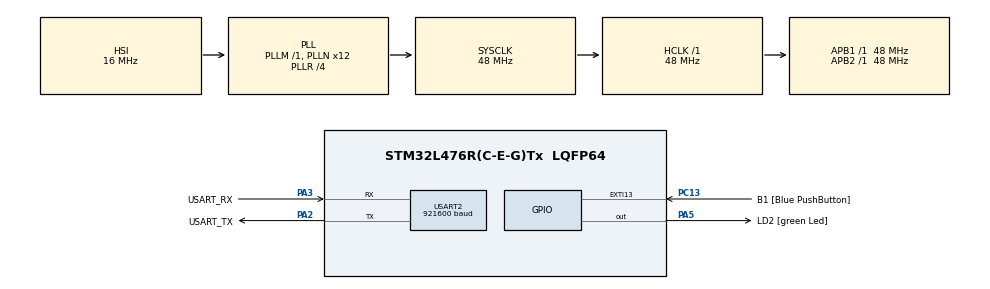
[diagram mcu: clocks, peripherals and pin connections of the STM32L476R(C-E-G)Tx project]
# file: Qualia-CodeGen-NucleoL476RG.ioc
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Dma.Request0=USART2_RX
Dma.USART2_RX.0.Direction=DMA_PERIPH_TO_MEMORY
Dma.USART2_RX.0.Instance=DMA1_Channel6
Dma.USART2_RX.0.MemDataAlignment=DMA_MDATAALIGN_BYTE
Dma.USART2_RX.0.MemInc=DMA_MINC_ENABLE
Dma.USART2_RX.0.Mode=DMA_NORMAL
Dma.USART2_RX.0.PeriphDataAlignment=DMA_PDATAALIGN_BYTE
Dma.USART2_RX.0.PeriphInc=DMA_PINC_DISABLE
Dma.USART2_RX.0.Priority=DMA_PRIORITY_MEDIUM
Mcu.Family=STM32L4
Mcu.Name=STM32L476R(C-E-G)Tx
Mcu.Package=LQFP64
NVIC.DMA1_Channel6_IRQn=true\:0\:0\:false\:false\:true\:false\:true
NVIC.PriorityGroup=NVIC_PRIORITYGROUP_4
NVIC.USART2_IRQn=true\:0\:0\:false\:false\:true\:true\:true
PA13\ (JTMS-SWDIO).GPIO_Label=TMS
PA13\ (JTMS-SWDIO).Mode=Serial_Wire
PA13\ (JTMS-SWDIO).Signal=SYS_JTMS-SWDIO
PA14\ (JTCK-SWCLK).GPIO_Label=TCK
PA14\ (JTCK-SWCLK).Mode=Serial_Wire
PA14\ (JTCK-SWCLK).Signal=SYS_JTCK-SWCLK
PA2.GPIO_Label=USART_TX
PA2.GPIO_Mode=GPIO_MODE_AF_PP
PA2.GPIO_PuPd=GPIO_NOPULL
PA2.GPIO_Speed=GPIO_SPEED_FREQ_VERY_HIGH
PA2.Mode=Asynchronous
PA2.Signal=USART2_TX
PA3.GPIO_Label=USART_RX
PA3.GPIO_Mode=GPIO_MODE_AF_PP
PA3.GPIO_PuPd=GPIO_NOPULL
PA3.GPIO_Speed=GPIO_SPEED_FREQ_VERY_HIGH
PA3.Mode=Asynchronous
PA3.Signal=USART2_RX
PA5.GPIO_Label=LD2 [green Led]
PA5.GPIO_ModeDefaultOutputPP=GPIO_MODE_OUTPUT_PP
PA5.GPIO_PuPd=GPIO_NOPULL
PA5.GPIO_Speed=GPIO_SPEED_FREQ_LOW
PA5.Signal=GPIO_Output
PB3\ (JTDO-TRACESWO).GPIO_Label=SWO
PB3\ (JTDO-TRACESWO).Signal=SYS_JTDO-SWO
PC13.GPIO_Label=B1 [Blue PushButton]
PC13.GPIO_ModeDefaultEXTI=GPIO_MODE_IT_FALLING
PC13.GPIO_PuPd=GPIO_NOPULL
PC13.Signal=GPXTI13
PC14-OSC32_IN\ (PC14).Mode=LSE-External-Oscillator
PC14-OSC32_IN\ (PC14).Signal=RCC_OSC32_IN
PC15-OSC32_OUT\ (PC15).Mode=LSE-External-Oscillator
PC15-OSC32_OUT\ (PC15).Signal=RCC_OSC32_OUT
PH0-OSC_IN\ (PH0).Signal=RCC_OSC_IN
PH1-OSC_OUT\ (PH1).Signal=RCC_OSC_OUT
ProjectManager.HeapSize=0x200
ProjectManager.StackSize=0x400
ProjectManager.TargetToolchain=STM32CubeIDE
RCC.ADCFreq_Value=64000000
RCC.AHBFreq_Value=48000000
RCC.APB1Freq_Value=48000000
RCC.APB1TimFreq_Value=48000000
RCC.APB2Freq_Value=48000000
RCC.APB2TimFreq_Value=48000000
RCC.CortexFreq_Value=48000000
RCC.HCLKFreq_Value=48000000
RCC.HSE_VALUE=8000000
RCC.HSI_VALUE=16000000
RCC.MSI_VALUE=4000000
RCC.PLLN=12
RCC.PLLR=RCC_PLLR_DIV4
RCC.PLLSourceVirtual=RCC_PLLSOURCE_HSI
RCC.PREFETCH_ENABLE=1
RCC.SYSCLKFreq_VALUE=48000000
RCC.SYSCLKSource=RCC_SYSCLKSOURCE_PLLCLK
RCC.USART2CLockSelection=RCC_USART2CLKSOURCE_SYSCLK
RCC.USBFreq_Value=64000000
RCC.VCOOutputFreq_Value=192000000
USART2.BaudRate=921600
USART2.VirtualMode-Asynchronous=VM_ASYNC
board=NUCLEO-L476RG

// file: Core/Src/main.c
/* USER CODE BEGIN Header */
// Copyright 2021 (c) Pierre-Emmanuel Novac <penovac@unice.fr> Université Côte d'Azur, CNRS, LEAT. All rights reserved.
/**
  ******************************************************************************
  * @file           : main.c
  * @brief          : Main program body
  ******************************************************************************
  * @attention
  *
  * <h2><center>&copy; Copyright (c) 2020 STMicroelectronics.
  * All rights reserved.</center></h2>
  *
  * This software component is licensed by ST under BSD 3-Clause license,
  * the "License"; You may not use this file except in compliance with the
  * License. You may obtain a copy of the License at:
  *                        opensource.org/licenses/BSD-3-Clause
  *
  ******************************************************************************
  */
/* USER CODE END Header */
#include "main.h"

/* USER CODE BEGIN Includes */
#include "stdio.h"
#include "string.h"
#include "NeuralNetwork.h"
/* USER CODE END Includes */

UART_HandleTypeDef huart2;
DMA_HandleTypeDef hdma_usart2_rx;

/* USER CODE BEGIN PV */
UART_WakeUpTypeDef WakeUpSelection;
/* USER CODE END PV */

void SystemClock_Config(void);
static void MX_GPIO_Init(void);
static void MX_DMA_Init(void);
static void MX_USART2_UART_Init(void);

/* USER CODE BEGIN 0 */
#define MAX_READ_SIZE 32768 // Absolute max is 65535 due to HAL_UART_Receive_DMA size being uint16_t
uint8_t receive_buff[MAX_READ_SIZE];                //Define the receive array
extern volatile uint16_t receive_buff_cnt;
void enterStop1(void);
/* USER CODE END 0 */

int main(void)
{
  /* USER CODE BEGIN 1 */
  char send_msg[256];

  strncpy(send_msg, "READY\r\n", 8);
  /* USER CODE END 1 */

  /* MCU Configuration--------------------------------------------------------*/

  /* Reset of all peripherals, Initializes the Flash interface and the Systick. */
  HAL_Init();

  /* Configure the system clock */
  SystemClock_Config();

  /* Initialize all configured peripherals */
  MX_GPIO_Init();
  MX_DMA_Init();
  MX_USART2_UART_Init();
  /* USER CODE BEGIN 2 */
  //Set up the DMA transmission to move the data of serial port 1 to recvive_buff, 255 bytes at a time
  HAL_UART_Receive_DMA(&huart2, (uint8_t*)receive_buff, MAX_READ_SIZE);
  HAL_UART_Transmit(&huart2, send_msg, 7, 0x200);
  /* USER CODE END 2 */

  /* Infinite loop */
  /* USER CODE BEGIN WHILE */

  /* Disable prefetch buffer */
  //FLASH->ACR |= FLASH_ACR_PRFTEN;
  /* Disable flash instruction cache */
  //FLASH->ACR |= FLASH_ACR_ICEN;
  /* Disable flash data cache */
  //FLASH->ACR |= FLASH_ACR_DCEN;

  int first=1;
  while (1)
  {
	  if (receive_buff_cnt > 0 && receive_buff[receive_buff_cnt - 1] == '\n') {
		  float *inputs = serialBufToFloats(receive_buff, receive_buff_cnt);
		  size_t len = snprintf(send_msg, 255, "%d\r\n", receive_buff_cnt);
		  receive_buff_cnt = 0;
		  HAL_UART_Receive_DMA(&huart2, (uint8_t*)receive_buff, MAX_READ_SIZE);

		  HAL_UART_Transmit(&huart2, send_msg, len, 0x200);

		  struct NNResult res = neuralNetworkInfer(inputs);

		  len = snprintf(send_msg, 255, "%d,%d,%f\r\n", res.inference_count, res.label, (double)res.dist);
		  HAL_UART_Transmit(&huart2, send_msg, len, 0x200);
	  }

	  if (first) {
		  first = 0;
		  //enterStop1();
		  //HAL_UART_Transmit(&huart2, send_msg, 7, 0x200);
	  }

	  //*receive_buff_cnt_pt = 0;
    /* USER CODE END WHILE */

  }
}

void SystemClock_Config(void)
{
  RCC_OscInitTypeDef RCC_OscInitStruct = {0};
  RCC_ClkInitTypeDef RCC_ClkInitStruct = {0};
  RCC_PeriphCLKInitTypeDef PeriphClkInit = {0};

  /** Initializes the RCC Oscillators according to the specified parameters
  * in the RCC_OscInitTypeDef structure.
  */
  RCC_OscInitStruct.OscillatorType = RCC_OSCILLATORTYPE_HSI;
  RCC_OscInitStruct.HSIState = RCC_HSI_ON;
  RCC_OscInitStruct.HSICalibrationValue = RCC_HSICALIBRATION_DEFAULT;
  RCC_OscInitStruct.PLL.PLLState = RCC_PLL_ON;
  RCC_OscInitStruct.PLL.PLLSource = RCC_PLLSOURCE_HSI;
  RCC_OscInitStruct.PLL.PLLM = 1;
  RCC_OscInitStruct.PLL.PLLN = 12;
  RCC_OscInitStruct.PLL.PLLP = RCC_PLLP_DIV7;
  RCC_OscInitStruct.PLL.PLLQ = RCC_PLLQ_DIV2;
  RCC_OscInitStruct.PLL.PLLR = RCC_PLLR_DIV4;
  if (HAL_RCC_OscConfig(&RCC_OscInitStruct) != HAL_OK)
  {
    Error_Handler();
  }
  /** Initializes the CPU, AHB and APB buses clocks
  */
  RCC_ClkInitStruct.ClockType = RCC_CLOCKTYPE_HCLK|RCC_CLOCKTYPE_SYSCLK
                              |RCC_CLOCKTYPE_PCLK1|RCC_CLOCKTYPE_PCLK2;
  RCC_ClkInitStruct.SYSCLKSource = RCC_SYSCLKSOURCE_PLLCLK;
  RCC_ClkInitStruct.AHBCLKDivider = RCC_SYSCLK_DIV1;
  RCC_ClkInitStruct.APB1CLKDivider = RCC_HCLK_DIV1;
  RCC_ClkInitStruct.APB2CLKDivider = RCC_HCLK_DIV1;

  if (HAL_RCC_ClockConfig(&RCC_ClkInitStruct, FLASH_LATENCY_2) != HAL_OK)
  {
    Error_Handler();
  }
  PeriphClkInit.PeriphClockSelection = RCC_PERIPHCLK_USART2;
  PeriphClkInit.Usart2ClockSelection = RCC_USART2CLKSOURCE_SYSCLK;
  if (HAL_RCCEx_PeriphCLKConfig(&PeriphClkInit) != HAL_OK)
  {
    Error_Handler();
  }
  /** Configure the main internal regulator output voltage
  */
  if (HAL_PWREx_ControlVoltageScaling(PWR_REGULATOR_VOLTAGE_SCALE1) != HAL_OK)
  {
    Error_Handler();
  }
}

static void MX_USART2_UART_Init(void)
{

  huart2.Instance = USART2;
  huart2.Init.BaudRate = 921600;
  huart2.Init.WordLength = UART_WORDLENGTH_8B;
  huart2.Init.StopBits = UART_STOPBITS_1;
  huart2.Init.Parity = UART_PARITY_NONE;
  huart2.Init.Mode = UART_MODE_TX_RX;
  huart2.Init.HwFlowCtl = UART_HWCONTROL_NONE;
  huart2.Init.OverSampling = UART_OVERSAMPLING_16;
  huart2.Init.OneBitSampling = UART_ONE_BIT_SAMPLE_DISABLE;
  huart2.AdvancedInit.AdvFeatureInit = UART_ADVFEATURE_NO_INIT;
  if (HAL_UART_Init(&huart2) != HAL_OK)
  {
    Error_Handler();
  }
  /* USER CODE BEGIN USART2_Init 2 */
  __HAL_UART_ENABLE_IT(&huart2, UART_IT_IDLE);  // Enable serial port idle interrupt
  /* USER CODE END USART2_Init 2 */

}

static void MX_DMA_Init(void)
{

  /* DMA controller clock enable */
  __HAL_RCC_DMA1_CLK_ENABLE();

  /* DMA interrupt init */
  /* DMA1_Channel6_IRQn interrupt configuration */
  HAL_NVIC_SetPriority(DMA1_Channel6_IRQn, 0, 0);
  HAL_NVIC_EnableIRQ(DMA1_Channel6_IRQn);

}

static void MX_GPIO_Init(void)
{
  GPIO_InitTypeDef GPIO_InitStruct = {0};

  /* GPIO Ports Clock Enable */
  __HAL_RCC_GPIOC_CLK_ENABLE();
  __HAL_RCC_GPIOH_CLK_ENABLE();
  __HAL_RCC_GPIOA_CLK_ENABLE();
  __HAL_RCC_GPIOB_CLK_ENABLE();

  /*Configure GPIO pin Output Level */
  HAL_GPIO_WritePin(LD2_GPIO_Port, LD2_Pin, GPIO_PIN_RESET);

  /*Configure GPIO pin : B1_Pin */
  GPIO_InitStruct.Pin = B1_Pin;
  GPIO_InitStruct.Mode = GPIO_MODE_IT_FALLING;
  GPIO_InitStruct.Pull = GPIO_NOPULL;
  HAL_GPIO_Init(B1_GPIO_Port, &GPIO_InitStruct);

  /*Configure GPIO pin : LD2_Pin */
  GPIO_InitStruct.Pin = LD2_Pin;
  GPIO_InitStruct.Mode = GPIO_MODE_OUTPUT_PP;
  GPIO_InitStruct.Pull = GPIO_NOPULL;
  GPIO_InitStruct.Speed = GPIO_SPEED_FREQ_LOW;
  HAL_GPIO_Init(LD2_GPIO_Port, &GPIO_InitStruct);

}

/* USER CODE BEGIN 4 */
/**
  * @brief  System Clock Configuration restored after STOP1 mode
  * @param  None
  * @retval None
  */
void SystemClock_Config_fromSTOP1(void)
{
  RCC_ClkInitTypeDef RCC_ClkInitStruct = {0};
  RCC_OscInitTypeDef RCC_OscInitStruct = {0};
  uint32_t pFLatency = 0;

  /* Get the Oscillators & PLL configuration according to the internal RCC registers */
  HAL_RCC_GetOscConfig(&RCC_OscInitStruct);

  /* Wake up on HSI, re-enable MSI and PLL with MSI as source */
/*  RCC_OscInitStruct.OscillatorType = RCC_OSCILLATORTYPE_MSI;
  RCC_OscInitStruct.MSIState = RCC_MSI_ON;
  RCC_OscInitStruct.MSIClockRange = RCC_MSIRANGE_6;
  RCC_OscInitStruct.MSICalibrationValue = RCC_MSICALIBRATION_DEFAULT;
  RCC_OscInitStruct.PLL.PLLState = RCC_PLL_ON;
  RCC_OscInitStruct.PLL.PLLSource = RCC_PLLSOURCE_MSI;
  if (HAL_RCC_OscConfig(&RCC_OscInitStruct) != HAL_OK)
  {
    Error_Handler();
  }*/
  /** Initializes the CPU, AHB and APB busses clocks
  */
  RCC_OscInitStruct.OscillatorType = RCC_OSCILLATORTYPE_HSI;
  RCC_OscInitStruct.HSIState = RCC_HSI_ON;
  RCC_OscInitStruct.HSICalibrationValue = RCC_HSICALIBRATION_DEFAULT;
  RCC_OscInitStruct.PLL.PLLState = RCC_PLL_ON;
  RCC_OscInitStruct.PLL.PLLSource = RCC_PLLSOURCE_HSI;
  if (HAL_RCC_OscConfig(&RCC_OscInitStruct) != HAL_OK)
  {
    Error_Handler();
  }

  /* Get the Clocks configuration according to the internal RCC registers */
  HAL_RCC_GetClockConfig(&RCC_ClkInitStruct, &pFLatency);

  /* Select PLL as system clock source */
  RCC_ClkInitStruct.ClockType = RCC_CLOCKTYPE_SYSCLK;
  RCC_ClkInitStruct.SYSCLKSource = RCC_SYSCLKSOURCE_PLLCLK;
  if (HAL_RCC_ClockConfig(&RCC_ClkInitStruct, pFLatency) != HAL_OK)
  {
    Error_Handler();
  }
}

void enterStop1(void) {
	/* make sure that no UART transfer is on-going */
	while(__HAL_UART_GET_FLAG(&huart2, USART_ISR_BUSY) == SET);
	/* make sure that UART is ready to receive
	 * (test carried out again later in HAL_UARTEx_StopModeWakeUpSourceConfig) */
	while(__HAL_UART_GET_FLAG(&huart2, USART_ISR_REACK) == RESET);

	/* set the wake-up event:
	 * specify wake-up on RXNE flag */
	WakeUpSelection.WakeUpEvent = UART_WAKEUP_ON_STARTBIT;
	if (HAL_UARTEx_StopModeWakeUpSourceConfig(&huart2, WakeUpSelection)!= HAL_OK)
	{
	  Error_Handler();
	}

	/* Enable the UART Wake UP from STOP1 mode Interrupt */
	__HAL_UART_ENABLE_IT(&huart2, UART_IT_WUF);

	/* about to enter STOP1 mode: switch off LED */
	//BSP_LED_Off(LED2);
	/* enable MCU wake-up by UART */
	HAL_UARTEx_EnableStopMode(&huart2);
	/* enter STOP1 mode */
	HAL_PWREx_EnterSTOP1Mode(PWR_STOPENTRY_WFI);

	/* ... STOP1 mode ... */

	/* at that point, MCU has been awoken: the LED has been turned back on */
	SystemClock_Config_fromSTOP1();

	/* Wake Up based on RXNE flag successful */
	HAL_UARTEx_DisableStopMode(&huart2);
}

/* USER CODE END 4 */

void Error_Handler(void)
{
}

/************************ (C) COPYRIGHT STMicroelectronics *****END OF FILE****/
